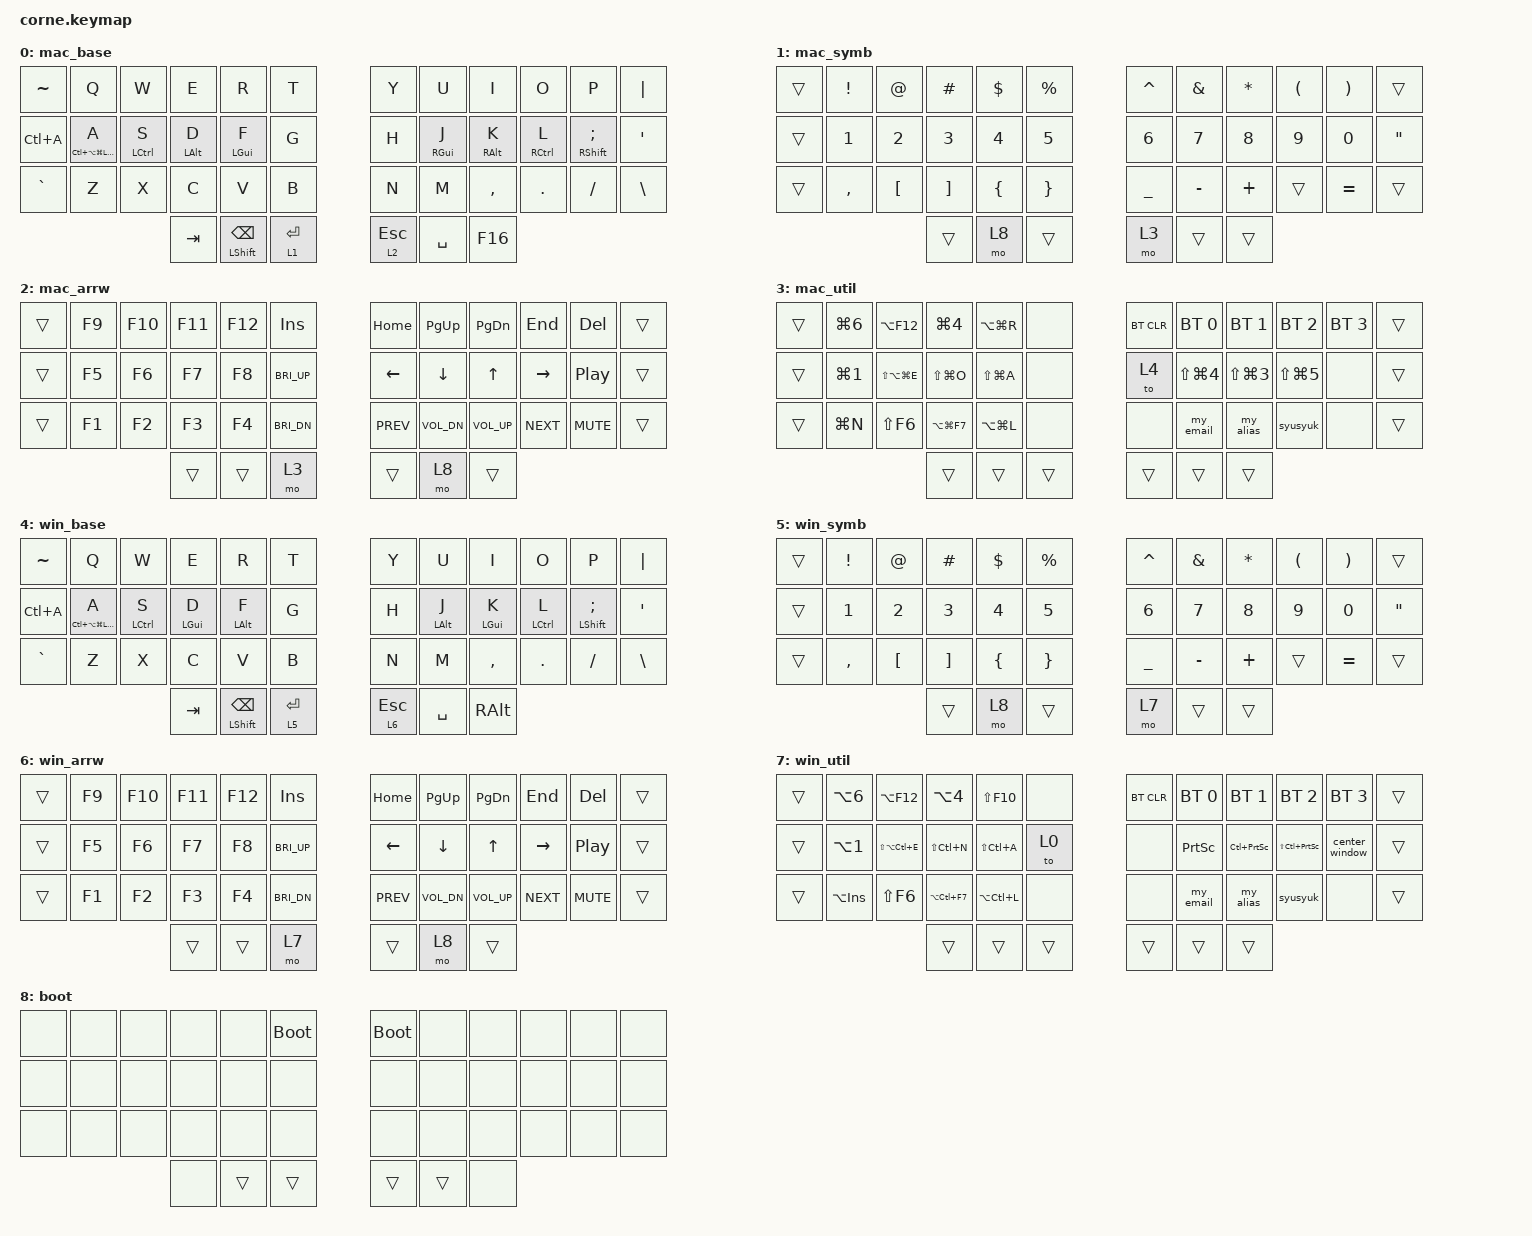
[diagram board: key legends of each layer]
/*
 * Copyright (c) 2020 The ZMK Contributors
 *
 * SPDX-License-Identifier: MIT
 */

#include <behaviors.dtsi>
#include <dt-bindings/zmk/bt.h>
#include <dt-bindings/zmk/keys.h>

&lt {
    tapping-term-ms = <180>;
    quick-tap-ms = <170>;
    flavor = "hold-preferred";
};

&mt {
    tapping-term-ms = <180>;
    quick-tap-ms = <170>;
};

//  0  1  2  3  4  5    6  7  8  9 10 11
// 12 13 14 15 16 17   18 19 20 21 22 23
// 24 25 26 27 28 29   30 31 32 33 34 35
//          36 37 38   39 40 41

/ {
    combos {
        compatible = "zmk,combos";

        mac_cut {
            bindings = <&kp LG(X)>;
            key-positions = <26 28>;
            require-prior-idle-ms = <150>;
            layers = <0>;
        };

        mac_copy {
            bindings = <&kp LG(C)>;
            key-positions = <26 27>;
            require-prior-idle-ms = <150>;
            layers = <0>;
        };

        mac_paste {
            bindings = <&kp LG(V)>;
            key-positions = <27 28>;
            require-prior-idle-ms = <150>;
            layers = <0>;
        };

        mac_undo {
            bindings = <&kp LG(Z)>;
            key-positions = <25 26>;
            require-prior-idle-ms = <150>;
            layers = <0>;
        };

        win_cut {
            bindings = <&kp LC(X)>;
            key-positions = <26 28>;
            require-prior-idle-ms = <150>;
            layers = <4>;
        };

        win_copy {
            bindings = <&kp LC(C)>;
            key-positions = <26 27>;
            require-prior-idle-ms = <150>;
            layers = <4>;
        };

        win_paste {
            bindings = <&kp LC(V)>;
            key-positions = <27 28>;
            require-prior-idle-ms = <150>;
            layers = <4>;
        };

        win_undo {
            bindings = <&kp LC(Z)>;
            key-positions = <25 26>;
            require-prior-idle-ms = <150>;
            layers = <4>;
        };

        sqt {
            bindings = <&kp SQT>;
            key-positions = <19 20>;
            require-prior-idle-ms = <150>;
            layers = <0 4>;
        };

        minus {
            bindings = <&kp MINUS>;
            key-positions = <20 21>;
            require-prior-idle-ms = <150>;
            layers = <0 4>;
        };

        grave {
            bindings = <&kp GRAVE>;
            key-positions = <31 32>;
            require-prior-idle-ms = <150>;
            layers = <0 4>;
        };

        bslh {
            bindings = <&kp BSLH>;
            key-positions = <32 33>;
            require-prior-idle-ms = <150>;
            layers = <0 4>;
        };

        lt {
            bindings = <&kp LT>;
            key-positions = <31 32>;
            require-prior-idle-ms = <150>;
            layers = <1 5>;
        };

        gt {
            bindings = <&kp GT>;
            key-positions = <32 33>;
            require-prior-idle-ms = <150>;
            layers = <1 5>;
        };

        youtube_speed_down {
            bindings = <&youtube_speed_down>;
            key-positions = <14 15>;
            require-prior-idle-ms = <150>;
            layers = <0 4>;
        };

        youtube_speed_up {
            bindings = <&youtube_speed_up>;
            key-positions = <15 16>;
            require-prior-idle-ms = <150>;
            layers = <0 4>;
        };
    };

    macros {
        my_email: my_email {
            compatible = "zmk,behavior-macro";
            #binding-cells = <0>;
            bindings = <&kp B &kp L &kp A &kp C &kp K &kp E &kp A &kp G &kp L &kp E &kp N1 &kp N0 &kp AT &kp I &kp C &kp L &kp O &kp U &kp D &kp DOT &kp C &kp O &kp M>;
        };

        my_alias: my_alias {
            compatible = "zmk,behavior-macro";
            #binding-cells = <0>;
            bindings = <&kp LS(U) &kp N &kp LS(E) &kp M &kp O &kp T &kp I &kp O &kp N &kp E &kp LS(D)>;
        };

        youtube_speed_down: youtube_normal {
            compatible = "zmk,behavior-macro";
            #binding-cells = <0>;
            bindings = <&kp I &kp LT &kp LT &kp LT &kp LT &kp ESC>;
        };

        youtube_speed_up: youtube_double {
            compatible = "zmk,behavior-macro";
            #binding-cells = <0>;
            bindings = <&kp I &kp GT &kp GT &kp GT &kp GT &kp ESC>;
        };

        center_window: center_window {
            compatible = "zmk,behavior-macro";
            #binding-cells = <0>;
            bindings = <&kp RSHFT &kp RSHFT &kp RSHFT>;
            label = "CENTER_WINDOW";
        };

        syusyuk: syusyuk {
            compatible = "zmk,behavior-macro";
            #binding-cells = <0>;
            bindings = <&kp T &kp B &kp T &kp B &kp R>;
            label = "SYUSYUK";
        };
    };

    behaviors {
        hrm_l: hrm_l {
            compatible = "zmk,behavior-hold-tap";
            bindings = <&kp>, <&kp>;

            #binding-cells = <2>;
            tapping-term-ms = <180>;
            quick-tap-ms = <170>;
            flavor = "tap-preferred";
            hold-trigger-key-positions = <6 7 8 9 10 11 13 14 15 16 18 19 20 21 22 23 30 31 32 33 34 35 36 37 38 39 40 41>;
        };

        hrm_r: hrm_r {
            compatible = "zmk,behavior-hold-tap";
            bindings = <&kp>, <&kp>;

            #binding-cells = <2>;
            tapping-term-ms = <180>;
            quick-tap-ms = <170>;
            flavor = "tap-preferred";
            hold-trigger-key-positions = <0 1 2 3 4 5 12 13 14 15 16 17 19 20 21 22 24 25 26 27 28 29 36 37 38 39 40 41>;
        };
    };

    keymap {
        compatible = "zmk,keymap";

        mac_base {
            bindings = <
&kp TILDE  &kp Q                       &kp W           &kp E          &kp R           &kp T          &kp Y      &kp U          &kp I          &kp O           &kp P              &kp PIPE
&kp LC(A)  &hrm_l LC(LA(LG(LSHFT))) A  &hrm_l LCTRL S  &hrm_l LALT D  &hrm_l LGUI F   &kp G          &kp H      &hrm_r RGUI J  &hrm_r RALT K  &hrm_r RCTRL L  &hrm_r RSHFT SEMI  &kp SQT
&kp GRAVE  &kp Z                       &kp X           &kp C          &kp V           &kp B          &kp N      &kp M          &kp COMMA      &kp DOT         &kp SLASH          &kp BSLH
                                                       &kp TAB        &mt LSHFT BSPC  &lt 1 ENTER    &lt 2 ESC  &kp SPACE      &kp F16
            >;
        };

        mac_symb {
            bindings = <
&trans  &kp EXCL   &kp AT    &kp HASH  &kp DLLR  &kp PRCNT    &kp CARET  &kp AMPS   &kp ASTRK  &kp LPAR  &kp RPAR   &trans
&trans  &kp N1     &kp N2    &kp N3    &kp N4    &kp N5       &kp N6     &kp N7     &kp N8     &kp N9    &kp N0     &kp DQT
&trans  &kp COMMA  &kp LBKT  &kp RBKT  &kp LBRC  &kp RBRC     &kp UNDER  &kp MINUS  &kp PLUS   &trans    &kp EQUAL  &trans
                             &trans    &mo 8     &trans       &mo 3      &trans     &trans
            >;
        };

        mac_arrw {
            bindings = <
&trans  &kp F9  &kp F10  &kp F11  &kp F12  &kp INS         &kp HOME    &kp PG_UP     &kp PG_DN     &kp END     &kp DEL     &trans
&trans  &kp F5  &kp F6   &kp F7   &kp F8   &kp C_BRI_UP    &kp LEFT    &kp DOWN      &kp UP        &kp RIGHT   &kp C_PP    &trans
&trans  &kp F1  &kp F2   &kp F3   &kp F4   &kp C_BRI_DN    &kp C_PREV  &kp C_VOL_DN  &kp C_VOL_UP  &kp C_NEXT  &kp C_MUTE  &trans
                         &trans   &trans   &mo 3           &trans      &mo 8         &trans
            >;
        };

        mac_util {
            bindings = <
&trans  &kp LG(N6)  &kp LA(F12)        &kp LG(N4)      &kp LA(LG(R))  &none     &bt BT_CLR  &bt BT_SEL 0    &bt BT_SEL 1    &bt BT_SEL 2    &bt BT_SEL 3  &trans
&trans  &kp LG(N1)  &kp LS(LA(LG(E)))  &kp LS(LG(O))   &kp LS(LG(A))  &none     &to 4       &kp LS(LG(N4))  &kp LS(LG(N3))  &kp LS(LG(N5))  &none         &trans
&trans  &kp LG(N)   &kp LS(F6)         &kp LA(LG(F7))  &kp LA(LG(L))  &none     &none       &my_email       &my_alias       &syusyuk        &none         &trans
                                       &trans          &trans         &trans    &trans      &trans          &trans
            >;
        };

        win_base {
            bindings = <
&kp TILDE  &kp Q                       &kp W           &kp E          &kp R           &kp T          &kp Y      &kp U          &kp I          &kp O           &kp P              &kp PIPE
&kp LC(A)  &hrm_l LC(LA(LG(LSHFT))) A  &hrm_l LCTRL S  &hrm_l LGUI D  &hrm_l LALT F   &kp G          &kp H      &hrm_r LALT J  &hrm_r LGUI K  &hrm_r LCTRL L  &hrm_r LSHFT SEMI  &kp SQT
&kp GRAVE  &kp Z                       &kp X           &kp C          &kp V           &kp B          &kp N      &kp M          &kp COMMA      &kp DOT         &kp SLASH          &kp BSLH
                                                       &kp TAB        &mt LSHFT BSPC  &lt 5 ENTER    &lt 6 ESC  &kp SPACE      &kp RALT
            >;
        };

        win_symb {
            bindings = <
&trans  &kp EXCL   &kp AT    &kp HASH  &kp DLLR  &kp PRCNT    &kp CARET  &kp AMPS   &kp ASTRK  &kp LPAR  &kp RPAR   &trans
&trans  &kp N1     &kp N2    &kp N3    &kp N4    &kp N5       &kp N6     &kp N7     &kp N8     &kp N9    &kp N0     &kp DQT
&trans  &kp COMMA  &kp LBKT  &kp RBKT  &kp LBRC  &kp RBRC     &kp UNDER  &kp MINUS  &kp PLUS   &trans    &kp EQUAL  &trans
                             &trans    &mo 8     &trans       &mo 7      &trans     &trans
            >;
        };

        win_arrw {
            bindings = <
&trans  &kp F9  &kp F10  &kp F11  &kp F12  &kp INS         &kp HOME    &kp PG_UP     &kp PG_DN     &kp END     &kp DEL     &trans
&trans  &kp F5  &kp F6   &kp F7   &kp F8   &kp C_BRI_UP    &kp LEFT    &kp DOWN      &kp UP        &kp RIGHT   &kp C_PP    &trans
&trans  &kp F1  &kp F2   &kp F3   &kp F4   &kp C_BRI_DN    &kp C_PREV  &kp C_VOL_DN  &kp C_VOL_UP  &kp C_NEXT  &kp C_MUTE  &trans
                         &trans   &trans   &mo 7           &trans      &mo 8         &trans
            >;
        };

        win_util {
            bindings = <
&trans  &kp LA(N6)   &kp LA(F12)        &kp LA(N4)      &kp LS(F10)    &none     &bt BT_CLR  &bt BT_SEL 0     &bt BT_SEL 1         &bt BT_SEL 2             &bt BT_SEL 3    &trans
&trans  &kp LA(N1)   &kp LS(LA(LC(E)))  &kp LS(LC(N))   &kp LS(LC(A))  &to 0     &none       &kp PRINTSCREEN  &kp LC(PRINTSCREEN)  &kp LS(LC(PRINTSCREEN))  &center_window  &trans
&trans  &kp LA(INS)  &kp LS(F6)         &kp LA(LC(F7))  &kp LA(LC(L))  &none     &none       &my_email        &my_alias            &syusyuk                 &none           &trans
                                        &trans          &trans         &trans    &trans      &trans           &trans
            >;
        };

        boot {
            bindings = <
&none  &none  &none  &none  &none   &bootloader    &bootloader  &none   &none  &none  &none  &none
&none  &none  &none  &none  &none   &none          &none        &none   &none  &none  &none  &none
&none  &none  &none  &none  &none   &none          &none        &none   &none  &none  &none  &none
                     &none  &trans  &trans         &trans       &trans  &none
            >;
        };
    };
};
